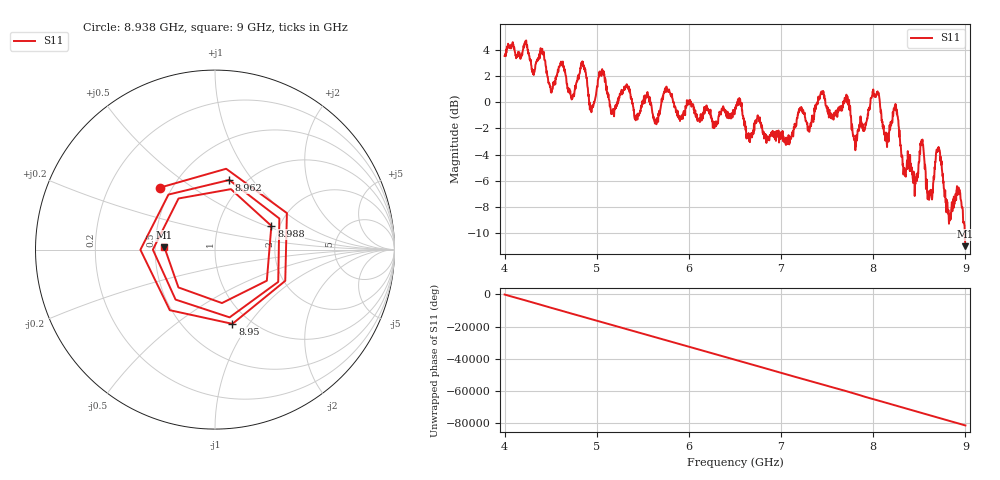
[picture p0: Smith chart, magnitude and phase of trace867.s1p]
! Created with skrf 1.8.0 (http://scikit-rf.org).
# Hz S RI R 50.0
!freq ReS11 ImS11
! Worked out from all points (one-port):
!   1601 points, 4 GHz to 9 GHz, reference 50 ohm
!   lowest |S11| = -11.0 dB at 9 GHz (marker M1), VSWR 1.79, Z = 28 + j0.762 ohm
!   |S11| at or under -10 dB: 8.992652 GHz to end of sweep
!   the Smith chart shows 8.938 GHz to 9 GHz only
!   S11 on the Smith chart (normalised r, x): 8.938 GHz: 0.43, +0.38; 8.95 GHz: 0.83, -0.84; 8.962 GHz: 0.84, +0.78; 8.988 GHz: 1.81, +0.54; 9 GHz: 0.56, +0.02
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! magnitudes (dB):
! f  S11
! 4 GHz  3.5
! 4.625 GHz  2.8
! 4.731 GHz  0.5
! 4.853 GHz  2.7
! 4.944 GHz  -0.7
! 5.05 GHz  2.0
! 5.162 GHz  -0.7
! 5.25 GHz  0.6
! 5.875 GHz  -1.1
! 6.5 GHz  -0.7
! 7.125 GHz  -2.3
! 7.438 GHz  0.8
! 7.75 GHz  -0.3
! 7.803 GHz  -3.4
! 8 GHz  1.0
! 8.141 GHz  -2.7
! 8.244 GHz  -0.2
! 8.375 GHz  -3.7
! 8.456 GHz  -6.2
! 8.528 GHz  -2.9
! 8.616 GHz  -7.0
! 8.706 GHz  -3.6
! 8.819 GHz  -8.8
! 8.938 GHz  -6.7
! 8.95 GHz  -7.4
! 8.962 GHz  -8.0
! 8.988 GHz  -9.4
! 9 GHz  -11.0
